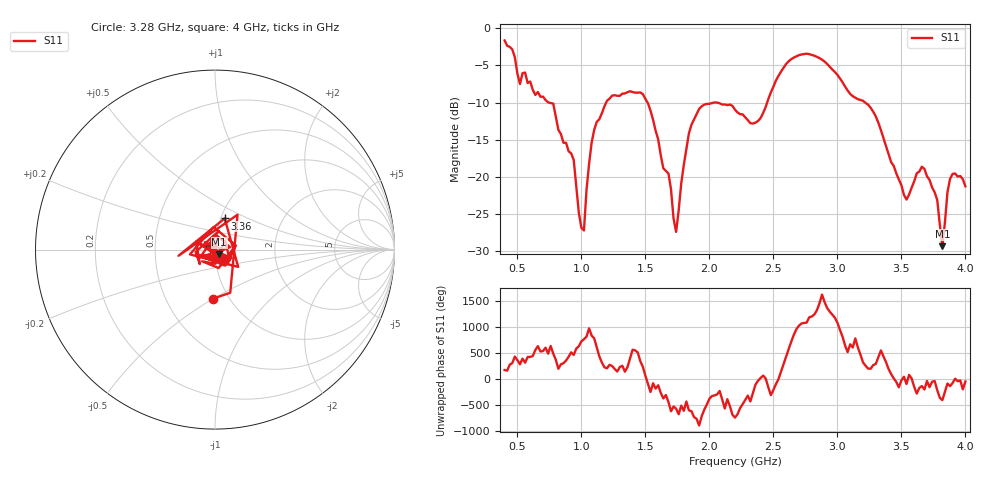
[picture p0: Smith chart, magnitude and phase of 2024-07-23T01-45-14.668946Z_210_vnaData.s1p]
!Created with skrf (http://scikit-rf.org).
# Hz S RI R 50.0
!freq ReS11 ImS11
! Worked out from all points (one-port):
!   181 points, 400 MHz to 4 GHz, reference 50 ohm
!   lowest |S11| = -29.3 dB at 3.82 GHz (marker M1), VSWR 1.07, Z = 52.3 - j2.65 ohm
!   |S11| at or under -10 dB: 745.9 MHz to 1.194 GHz (447.8 MHz wide, 46.2 % of centre); 1.517 GHz to 2.037 GHz (519.9 MHz wide, 29.3 % of centre); 3.216 GHz to end of sweep (the widest 3 of 4)
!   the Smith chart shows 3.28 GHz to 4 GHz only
!   S11 on the Smith chart (normalised r, x): 3.28 GHz: 0.84, -0.50; 3.36 GHz: 1.05, +0.38; 4 GHz: 1.11, -0.15
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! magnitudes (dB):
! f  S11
! 400 MHz  -1.7
! 520 MHz  -7.5
! 780 MHz  -10.1
! 860 MHz  -15.4
! 940 MHz  -17.7
! 980 MHz  -24.8
! 1.02 GHz  -27.2
! 1.06 GHz  -18.2
! 1.1 GHz  -13.7
! 1.3 GHz  -9.1
! 1.52 GHz  -10.1
! 1.68 GHz  -19.5
! 1.74 GHz  -27.4
! 1.76 GHz  -24.5
! 1.84 GHz  -14.1
! 1.92 GHz  -10.9
! 2.2 GHz  -11.0
! 2.38 GHz  -12.5
! 2.66 GHz  -3.9
! 3.1 GHz  -8.8
! 3.28 GHz  -11.2
! 3.36 GHz  -14.8
! 3.56 GHz  -22.4
! 3.68 GHz  -18.9
! 3.78 GHz  -23.1
! 3.82 GHz  -29.3
! 3.88 GHz  -20.3
! 4 GHz  -21.3
